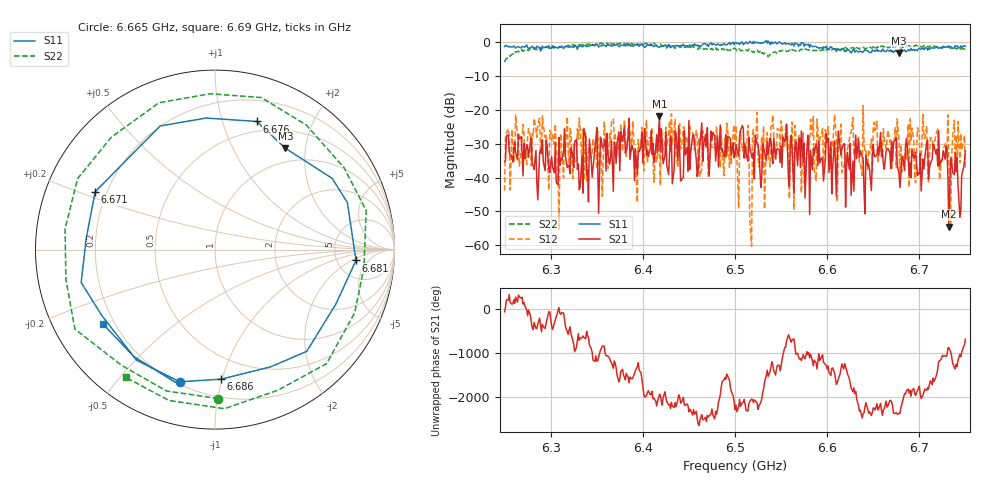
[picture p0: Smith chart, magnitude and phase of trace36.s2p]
# Hz S RI R 50
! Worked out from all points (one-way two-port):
!   401 points, 6.25 GHz to 6.75 GHz, reference 50 ohm
!   highest |S21| = -21.93 dB at 6.418 GHz (marker M1); lowest = -54.4 dB at 6.732 GHz (marker M2)
!   lowest |S11| = -3.3 dB at 6.678 GHz (marker M3), VSWR 5.40, Z = 38.3 + j82 ohm
!   |S11| at or under -10 dB: nowhere
!   |S22| runs from -5.9 to 0.0 dB; largest |S21 - S12| = 0.12
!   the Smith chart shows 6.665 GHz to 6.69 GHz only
!   S11 on the Smith chart (normalised r, x): 6.665 GHz: 0.21, -0.75; 6.671 GHz: 0.16, +0.22; 6.676 GHz: 0.40, +1.30; 6.681 GHz: 7.65, -2.43; 6.686 GHz: 0.33, -0.99; 6.69 GHz: 0.16, -0.29
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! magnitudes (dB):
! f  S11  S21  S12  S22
! 6.25 GHz  -1.3  -35.3  -43.9  -5.9
! 6.285 GHz  -1.2  -41.6  -28.1  -2.2
! 6.311 GHz  -1.4  -34.2  -27.0  -1.5
! 6.334 GHz  -1.3  -33.6  -36.6  -0.9
! 6.418 GHz  -1.6  -21.9  -29.0  -0.6
! 6.5 GHz  -0.3  -33.6  -30.4  -1.9
! 6.515 GHz  -0.2  -28.1  -29.8  -2.1
! 6.519 GHz  -0.4  -34.2  -27.0  -3.0
! 6.521 GHz  -0.4  -40.4  -32.4  -3.1
! 6.575 GHz  -1.3  -29.8  -41.7  -2.4
! 6.584 GHz  -1.4  -37.7  -27.5  -2.5
! 6.665 GHz  -2.4  -31.6  -28.8  -1.6
! 6.668 GHz  -2.7  -32.5  -29.6  -1.6
! 6.671 GHz  -2.6  -35.2  -30.9  -1.5
! 6.676 GHz  -2.5  -36.1  -22.7  -1.2
! 6.678 GHz  -3.3  -39.0  -29.2  -1.1
! 6.681 GHz  -2.1  -34.4  -38.3  -1.2
! 6.686 GHz  -2.8  -28.4  -34.5  -1.3
! 6.69 GHz  -2.5  -35.6  -22.6  -1.2
! 6.732 GHz  -1.1  -54.4  -36.8  -1.6
! 6.745 GHz  -1.1  -50.1  -27.0  -2.0
! 6.75 GHz  -1.2  -32.2  -37.8  -2.5
